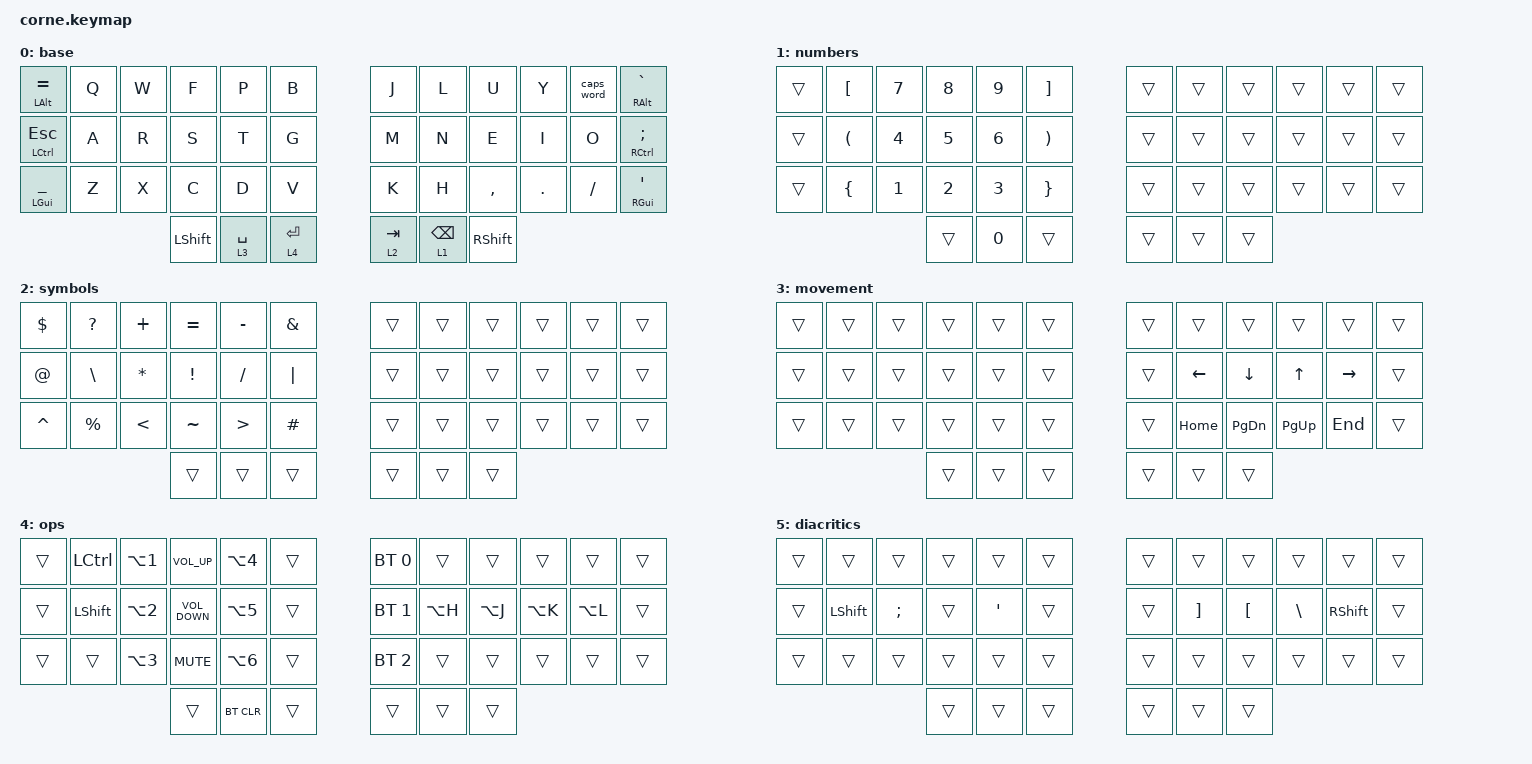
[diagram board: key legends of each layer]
/*
 * Copyright (c) 2020 The ZMK Contributors
 *
 * SPDX-License-Identifier: MIT
 */

#include <behaviors.dtsi>
#include <dt-bindings/zmk/bt.h>
#include <dt-bindings/zmk/keys.h>

/ {
    lm_as: lm_as {
        compatible = "zmk,behavior-macro-one-param";
        wait-ms = <0>;
        tap-ms = <0>;
        #binding-cells = <1>;
        bindings =
            <&macro_press>,
            <&kp LALT>,
            <&macro_press>,
            <&kp SPACE>,
            <&macro_release>,
            <&kp SPACE>,
            <&macro_release>,
            <&kp LALT &macro_param_1to1>,
            <&macro_press>,
            <&mo MACRO_PLACEHOLDER>,
            <&macro_pause_for_release>,
            <&macro_param_1to1>,
            <&macro_release>,
            <&mo MACRO_PLACEHOLDER>,
            <&macro_press>,
            <&kp LALT>,
            <&macro_press>,
            <&kp SPACE>,
            <&macro_release>,
            <&kp SPACE>,
            <&macro_release>,
            <&kp LALT>;
    };

    combos {
        compatible = "zmk,combos";

        L3 {
            bindings = <&lm_as 5>;
            key-positions = <37 40>;
        };
    };

    macros {
    };

    keymap {
        compatible = "zmk,keymap";

        base {
            bindings = <
&mt LALT EQUAL      &kp Q  &kp W  &kp F       &kp P        &kp B           &kp J      &kp L            &kp U      &kp Y    &caps_word  &mt RIGHT_ALT GRAVE
&mt LCTRL ESCAPE    &kp A  &kp R  &kp S       &kp T        &kp G           &kp M      &kp N            &kp E      &kp I    &kp O       &mt RIGHT_CONTROL SEMICOLON
&mt LEFT_GUI UNDER  &kp Z  &kp X  &kp C       &kp D        &kp V           &kp K      &kp H            &kp COMMA  &kp DOT  &kp FSLH    &mt RIGHT_GUI SINGLE_QUOTE
                                  &kp LSHIFT  &lt 3 SPACE  &lt 4 RETURN    &lt 2 TAB  &lt 1 BACKSPACE  &kp RSHFT
            >;
        };

        numbers {
            bindings = <
&trans  &kp LEFT_BRACKET      &kp NUMBER_7  &kp NUMBER_8  &kp NUMBER_9  &kp RIGHT_BRACKET        &trans  &trans  &trans  &trans  &trans  &trans
&trans  &kp LEFT_PARENTHESIS  &kp NUMBER_4  &kp N5        &kp NUMBER_6  &kp RIGHT_PARENTHESIS    &trans  &trans  &trans  &trans  &trans  &trans
&trans  &kp LEFT_BRACE        &kp NUMBER_1  &kp NUMBER_2  &kp NUMBER_3  &kp RIGHT_BRACE          &trans  &trans  &trans  &trans  &trans  &trans
                                            &trans        &kp NUMBER_0  &trans                   &trans  &trans  &trans
            >;
        };

        symbols {
            bindings = <
&kp DOLLAR  &kp QUESTION   &kp PLUS       &kp EQUAL  &kp MINUS         &kp AMPERSAND    &trans  &trans  &trans  &trans  &trans  &trans
&kp AT      &kp BACKSLASH  &kp ASTERISK   &kp EXCL   &kp SLASH         &kp PIPE         &trans  &trans  &trans  &trans  &trans  &trans
&kp CARET   &kp PERCENT    &kp LESS_THAN  &kp TILDE  &kp GREATER_THAN  &kp HASH         &trans  &trans  &trans  &trans  &trans  &trans
                                          &trans     &trans            &trans           &trans  &trans  &trans
            >;
        };

        movement {
            bindings = <
&trans  &trans  &trans  &trans  &trans  &trans    &trans  &trans    &trans         &trans       &trans     &trans
&trans  &trans  &trans  &trans  &trans  &trans    &trans  &kp LEFT  &kp DOWN       &kp UP       &kp RIGHT  &trans
&trans  &trans  &trans  &trans  &trans  &trans    &trans  &kp HOME  &kp PAGE_DOWN  &kp PAGE_UP  &kp END    &trans
                        &trans  &trans  &trans    &trans  &trans    &trans
            >;
        };

        ops {
            bindings = <
&trans  &kp LCTRL       &kp LA(NUMBER_1)  &kp C_VOLUME_UP    &kp LA(NUMBER_4)  &trans    &bt BT_SEL 0  &trans     &trans     &trans     &trans     &trans
&trans  &kp LEFT_SHIFT  &kp LA(NUMBER_2)  &kp C_VOLUME_DOWN  &kp LA(N5)        &trans    &bt BT_SEL 1  &kp LA(H)  &kp LA(J)  &kp LA(K)  &kp LA(L)  &trans
&trans  &trans          &kp LA(NUMBER_3)  &kp K_MUTE         &kp LA(NUMBER_6)  &trans    &bt BT_SEL 2  &trans     &trans     &trans     &trans     &trans
                                          &trans             &bt BT_CLR        &trans    &trans        &trans     &trans
            >;
        };

        diacritics {
            bindings = <
&trans  &trans          &trans         &trans  &trans            &trans    &trans  &trans             &trans            &trans         &trans           &trans
&trans  &kp LEFT_SHIFT  &kp SEMICOLON  &trans  &kp SINGLE_QUOTE  &trans    &trans  &kp RIGHT_BRACKET  &kp LEFT_BRACKET  &kp BACKSLASH  &kp RIGHT_SHIFT  &trans
&trans  &trans          &trans         &trans  &trans            &trans    &trans  &trans             &trans            &trans         &trans           &trans
                                       &trans  &trans            &trans    &trans  &trans             &trans
            >;
        };
    };
};
